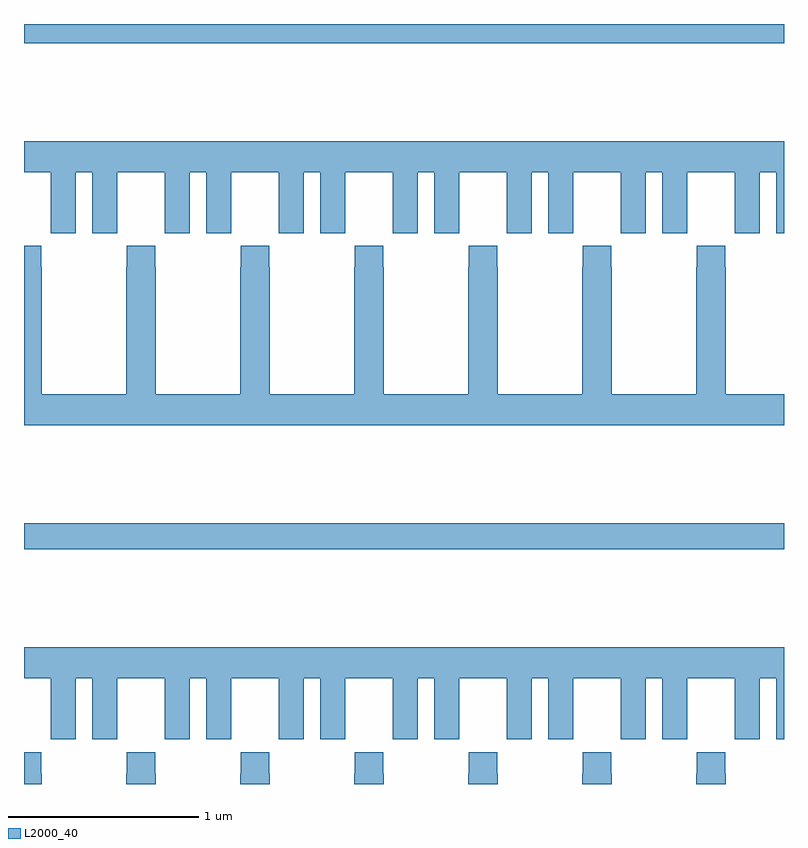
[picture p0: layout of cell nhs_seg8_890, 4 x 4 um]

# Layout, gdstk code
import gdstk
lib = gdstk.Library(unit=1e-6, precision=1e-09)
def R(c, l, rs):  # rectangles x0, y0, x1, y1
    for r in rs: c.add(gdstk.rectangle(r[:2], r[2:], *l))
def P(c, l, *ps):  # polygons
    for p in ps: c.add(gdstk.Polygon(p, *l))
L2000_40 = (2000, 40)

nhs_seg8_890 = lib.new_cell('nhs_seg8_890')
R(nhs_seg8_890, L2000_40, [(167,1161.136,171,1161.272), (167,1163.8,171,1163.9)])
P(nhs_seg8_890, L2000_40, [(167,1163.12),(167.141,1163.12),(167.141,1162.912),(167.142,1162.912),(167.142,1162.8),(167.272,1162.8),(167.272,1163.12),(167.36,1163.12),(167.36,1162.8),(167.49,1162.8),(167.49,1162.912),(167.491,1162.912),(167.491,1163.12),(167.741,1163.12),(167.741,1162.912),(167.742,1162.912),(167.742,1162.8),(167.872,1162.8),(167.872,1163.12),(167.96,1163.12),(167.96,1162.8),(168.09,1162.8),(168.09,1162.912),(168.091,1162.912),(168.091,1163.12),(168.341,1163.12),(168.341,1162.912),(168.342,1162.912),(168.342,1162.8),(168.472,1162.8),(168.472,1163.12),(168.56,1163.12),(168.56,1162.8),(168.69,1162.8),(168.69,1162.912),(168.691,1162.912),(168.691,1163.12),(168.941,1163.12),(168.941,1162.912),(168.942,1162.912),(168.942,1162.8),(169.072,1162.8),(169.072,1163.12),(169.16,1163.12),(169.16,1162.8),(169.29,1162.8),(169.29,1162.912),(169.291,1162.912),(169.291,1163.12),(169.541,1163.12),(169.541,1162.912),(169.542,1162.912),(169.542,1162.8),(169.672,1162.8),(169.672,1163.12),(169.76,1163.12),(169.76,1162.8),(169.89,1162.8),(169.89,1162.912),(169.891,1162.912),(169.891,1163.12),(170.141,1163.12),(170.141,1162.912),(170.142,1162.912),(170.142,1162.8),(170.272,1162.8),(170.272,1163.12),(170.36,1163.12),(170.36,1162.8),(170.49,1162.8),(170.49,1162.912),(170.491,1162.912),(170.491,1163.12),(170.741,1163.12),(170.741,1162.912),(170.742,1162.912),(170.742,1162.8),(170.872,1162.8),(170.872,1163.12),(170.96,1163.12),(170.96,1162.8),(171,1162.8),(171,1163.284),(167,1163.284)],
  [(171,1161.952),(170.694,1161.952),(170.694,1162.619),(170.691,1162.619),(170.691,1162.732),(170.541,1162.732),(170.541,1162.619),(170.539,1162.619),(170.539,1161.952),(170.094,1161.952),(170.094,1162.619),(170.091,1162.619),(170.091,1162.732),(169.941,1162.732),(169.941,1162.619),(169.939,1162.619),(169.939,1161.952),(169.494,1161.952),(169.494,1162.619),(169.491,1162.619),(169.491,1162.732),(169.341,1162.732),(169.341,1162.619),(169.339,1162.619),(169.339,1161.952),(168.894,1161.952),(168.894,1162.619),(168.891,1162.619),(168.891,1162.732),(168.741,1162.732),(168.741,1162.619),(168.739,1162.619),(168.739,1161.952),(168.294,1161.952),(168.294,1162.619),(168.291,1162.619),(168.291,1162.732),(168.141,1162.732),(168.141,1162.619),(168.139,1162.619),(168.139,1161.952),(167.694,1161.952),(167.694,1162.619),(167.691,1162.619),(167.691,1162.732),(167.541,1162.732),(167.541,1162.619),(167.539,1162.619),(167.539,1161.952),(167.094,1161.952),(167.094,1162.619),(167.091,1162.619),(167.091,1162.732),(167,1162.732),(167,1161.788),(171,1161.788)],
  [(167.272,1160.456),(167.36,1160.456),(167.36,1160.136),(167.49,1160.136),(167.49,1160.248),(167.491,1160.248),(167.491,1160.456),(167.741,1160.456),(167.741,1160.248),(167.742,1160.248),(167.742,1160.136),(167.872,1160.136),(167.872,1160.456),(167.96,1160.456),(167.96,1160.136),(168.09,1160.136),(168.09,1160.248),(168.091,1160.248),(168.091,1160.456),(168.341,1160.456),(168.341,1160.248),(168.342,1160.248),(168.342,1160.136),(168.472,1160.136),(168.472,1160.456),(168.56,1160.456),(168.56,1160.136),(168.69,1160.136),(168.69,1160.248),(168.691,1160.248),(168.691,1160.456),(168.941,1160.456),(168.941,1160.248),(168.942,1160.248),(168.942,1160.136),(169.072,1160.136),(169.072,1160.456),(169.16,1160.456),(169.16,1160.136),(169.29,1160.136),(169.29,1160.248),(169.291,1160.248),(169.291,1160.456),(169.541,1160.456),(169.541,1160.248),(169.542,1160.248),(169.542,1160.136),(169.672,1160.136),(169.672,1160.456),(169.76,1160.456),(169.76,1160.136),(169.89,1160.136),(169.89,1160.248),(169.891,1160.248),(169.891,1160.456),(170.141,1160.456),(170.141,1160.248),(170.142,1160.248),(170.142,1160.136),(170.272,1160.136),(170.272,1160.456),(170.36,1160.456),(170.36,1160.136),(170.49,1160.136),(170.49,1160.248),(170.491,1160.248),(170.491,1160.456),(170.741,1160.456),(170.741,1160.248),(170.742,1160.248),(170.742,1160.136),(170.872,1160.136),(170.872,1160.456),(170.96,1160.456),(170.96,1160.136),(171,1160.136),(171,1160.62),(167,1160.62),(167,1160.456),(167.141,1160.456),(167.141,1160.248),(167.142,1160.248),(167.142,1160.136),(167.272,1160.136)],
  [(167.694,1159.955),(167.691,1159.955),(167.691,1160.068),(167.541,1160.068),(167.541,1159.955),(167.539,1159.955),(167.539,1159.9),(167.694,1159.9)],
  [(168.294,1159.955),(168.291,1159.955),(168.291,1160.068),(168.141,1160.068),(168.141,1159.955),(168.139,1159.955),(168.139,1159.9),(168.294,1159.9)],
  [(168.894,1159.955),(168.891,1159.955),(168.891,1160.068),(168.741,1160.068),(168.741,1159.955),(168.739,1159.955),(168.739,1159.9),(168.894,1159.9)],
  [(169.341,1159.955),(169.339,1159.955),(169.339,1159.9),(169.494,1159.9),(169.494,1159.955),(169.491,1159.955),(169.491,1160.068),(169.341,1160.068)],
  [(167.094,1159.955),(167.091,1159.955),(167.091,1160.068),(167,1160.068),(167,1159.9),(167.094,1159.9)],
  [(170.694,1159.955),(170.691,1159.955),(170.691,1160.068),(170.541,1160.068),(170.541,1159.955),(170.539,1159.955),(170.539,1159.9),(170.694,1159.9)],
  [(170.094,1159.955),(170.091,1159.955),(170.091,1160.068),(169.941,1160.068),(169.941,1159.955),(169.939,1159.955),(169.939,1159.9),(170.094,1159.9)])

lib.write_gds('nhs_seg8_890.gds')
